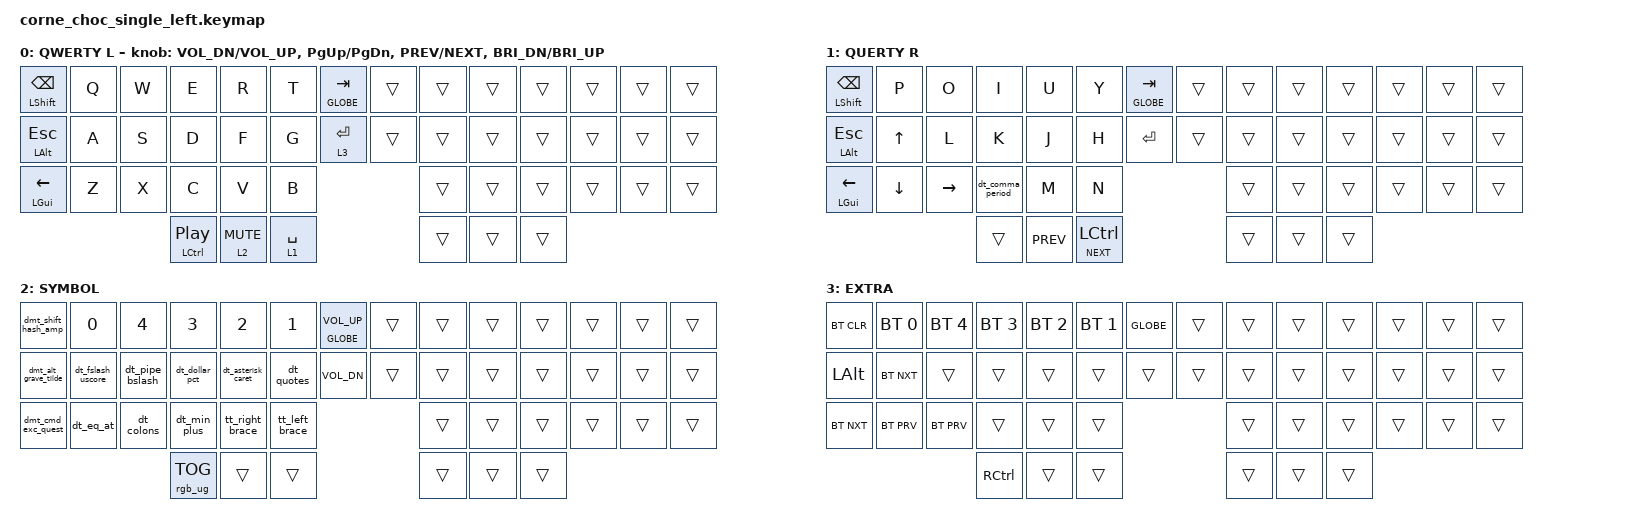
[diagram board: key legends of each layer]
/*
 * Copyright (c) 2020 The ZMK Contributors
 *
 * SPDX-License-Identifier: MIT
 */

#include <behaviors.dtsi>
#include <dt-bindings/zmk/bt.h>
#include <dt-bindings/zmk/keys.h>
#include <dt-bindings/zmk/rgb.h>

&mt { tapping-term-ms = <120>; };

&lt { tapping-term-ms = <120>; };

/ {
    chosen { zmk,physical-layout = &default_layout; };
};

/ {
    behaviors {
        dt_comma_period: dt_comma_period {
            compatible = "zmk,behavior-tap-dance";
            label = "DT_COMMA_PERIOD";
            #binding-cells = <0>;
            bindings = <&kp COMMA>, <&kp PERIOD>;
        };

        dmt_alt_excl_quest: dmt_alt_excl_quest {
            compatible = "zmk,behavior-tap-dance";
            label = "DMT_ALT_EXCL_QUEST";
            #binding-cells = <0>;
            bindings = <&mt LEFT_ALT EXCLAMATION>, <&kp QUESTION>;
        };

        dmt_alt_grave_tilde: dmt_alt_grave_tilde {
            compatible = "zmk,behavior-tap-dance";
            label = "DMT_ALT_GRAVE_TILDE";
            #binding-cells = <0>;
            bindings = <&mt LEFT_ALT GRAVE>, <&kp TILDE>;
        };

        dt_quotes: dt_quotes {
            compatible = "zmk,behavior-tap-dance";
            label = "DT_QUOTES";
            #binding-cells = <0>;
            bindings = <&kp SINGLE_QUOTE>, <&kp DOUBLE_QUOTES>;
        };

        dt_asterisk_caret: dt_asterisk_caret {
            compatible = "zmk,behavior-tap-dance";
            label = "DT_ASTERISK_CARET";
            #binding-cells = <0>;
            bindings = <&kp ASTERISK>, <&kp CARET>;
        };

        dt_lt_gt: dt_lt_gt {
            compatible = "zmk,behavior-tap-dance";
            label = "DT_LT_GT";
            #binding-cells = <0>;
            bindings = <&kp LT>, <&kp GREATER_THAN>;
        };

        dt_pipe_bslash: dt_pipe_bslash {
            compatible = "zmk,behavior-tap-dance";
            label = "DT_PIPE_BSLASH";
            #binding-cells = <0>;
            bindings = <&kp PIPE>, <&kp BACKSLASH>;
        };

        dt_fslash_uscore: dt_fslash_uscore {
            compatible = "zmk,behavior-tap-dance";
            label = "DT_FSLASH_USCORE";
            #binding-cells = <0>;
            bindings = <&kp SLASH>, <&kp UNDERSCORE>;
        };

        dt_min_plus: dt_min_plus {
            compatible = "zmk,behavior-tap-dance";
            label = "DT_MIN_PLUS";
            #binding-cells = <0>;
            bindings = <&kp KP_MINUS>, <&kp KP_PLUS>;
        };

        dt_curly_bracket: dt_curly_bracket {
            compatible = "zmk,behavior-tap-dance";
            label = "DT_CURLY_BRACKET";
            #binding-cells = <0>;
            bindings = <&kp LEFT_BRACE>, <&kp RIGHT_BRACE>;
        };

        dt_square_bracket: dt_square_bracket {
            compatible = "zmk,behavior-tap-dance";
            label = "DT_SQUARE_BRACKET";
            #binding-cells = <0>;
            bindings = <&kp LBKT>, <&kp RIGHT_BRACKET>;
        };

        dt_colons: dt_colons {
            compatible = "zmk,behavior-tap-dance";
            label = "DT_COLONS";
            #binding-cells = <0>;
            bindings = <&kp COLON>, <&kp SEMICOLON>;
        };

        dt_eq_at: dt_eq_at {
            compatible = "zmk,behavior-tap-dance";
            label = "DT_EQ_AT";
            #binding-cells = <0>;
            bindings = <&kp EQUAL>, <&kp AT_SIGN>;
        };

        ht_mt_bt0: ht_mt_bt0 {
            compatible = "zmk,behavior-hold-tap";
            label = "HT_MT_BT0";
            bindings = <&kp>, <&bt_sel_0>;

            #binding-cells = <2>;
            tapping-term-ms = <120>;
        };

        ht_mt_bt1: ht_mt_bt1 {
            compatible = "zmk,behavior-hold-tap";
            label = "HT_MT_BT1";
            bindings = <&kp>, <&bt_sel_1>;

            #binding-cells = <2>;
            tapping-term-ms = <120>;
        };

        dmt_shift_hash_amp: dmt_shift_hash_amp {
            compatible = "zmk,behavior-tap-dance";
            label = "DMT_SHIFT_HASH_AMP";
            #binding-cells = <0>;
            bindings = <&mt LEFT_SHIFT HASH>, <&kp AMPS>;

            tapping-term-ms = <120>;
        };

        dmt_shift_dollar_pct: dmt_shift_dollar_pct {
            compatible = "zmk,behavior-tap-dance";
            label = "DMT_SHIFT_DOLLAR_PCT";
            #binding-cells = <0>;
            bindings = <&mt LEFT_SHIFT DOLLAR>, <&kp PERCENT>;
        };

        dmt_cmd_parentheses: dmt_cmd_parentheses {
            compatible = "zmk,behavior-tap-dance";
            label = "DMT_CMD_PARENTHESES";
            #binding-cells = <0>;
            bindings = <&mt LEFT_GUI LEFT_PARENTHESIS>, <&kp RIGHT_PARENTHESIS>;
        };

        tt_left_brace: tt_left_brace {
            compatible = "zmk,behavior-tap-dance";
            label = "TT_LEFT_BRACE";
            #binding-cells = <0>;
            bindings =
                <&kp LEFT_PARENTHESIS>,
                <&kp LEFT_BRACKET>,
                <&kp LESS_THAN>,
                <&kp LEFT_BRACE>;
        };

        tt_right_brace: tt_right_brace {
            compatible = "zmk,behavior-tap-dance";
            label = "TT_RIGHT_BRACE";
            #binding-cells = <0>;
            bindings =
                <&kp RIGHT_PARENTHESIS>,
                <&kp RIGHT_BRACKET>,
                <&kp GREATER_THAN>,
                <&kp RIGHT_BRACE>;
        };

        new_behavior: new_behavior {
            compatible = "zmk,behavior-tap-dance";
            label = "NEW_BEHAVIOR";
            #binding-cells = <0>;
            bindings =
                <&kp LEFT_PARENTHESIS>,
                <&kp LEFT_BRACKET>,
                <&kp LESS_THAN>,
                <&kp LEFT_BRACE>;
        };

        dt_hash_amp: dt_hash_amp {
            compatible = "zmk,behavior-tap-dance";
            label = "DT_HASH_AMP";
            #binding-cells = <0>;
            bindings = <&kp HASH>, <&kp AMPS>;
        };

        dt_dollar_pct: dt_dollar_pct {
            compatible = "zmk,behavior-tap-dance";
            label = "DT_DOLLAR_PCT";
            #binding-cells = <0>;
            bindings = <&kp DOLLAR>, <&kp PRCNT>;
        };

        dmt_cmd_exc_quest: dmt_cmd_exc_quest {
            compatible = "zmk,behavior-tap-dance";
            label = "DMT_CMD_EXC_QUEST";
            #binding-cells = <0>;
            bindings = <&mt LEFT_GUI EXCL>, <&kp QUESTION>;
        };
    };

    combos {
        compatible = "zmk,combos";

        sum_12 {
            bindings = <&kp NUMBER_3>;
            key-positions = <5 4>;
            layers = <2>;
        };

        sum_13 {
            bindings = <&kp N4>;
            key-positions = <3 5>;
            layers = <2>;
        };

        sum_14 {
            bindings = <&kp N5>;
            key-positions = <2 5>;
            layers = <2>;
        };

        sum_23 {
            bindings = <&kp KP_N5>;
            key-positions = <4 3>;
            layers = <2>;
        };

        sum_24 {
            bindings = <&kp N6>;
            key-positions = <4 2>;
            layers = <2>;
        };

        sum_34 {
            bindings = <&kp N7>;
            key-positions = <2 3>;
            layers = <2>;
        };

        sum_123 {
            bindings = <&kp N6>;
            key-positions = <5 4 3>;
            layers = <2>;
        };

        sum_124 {
            bindings = <&kp N7>;
            key-positions = <3 5 2>;
            layers = <2>;
        };

        sum_234 {
            bindings = <&kp N9>;
            key-positions = <3 2 4>;
            layers = <2>;
        };

        sum_1234 {
            bindings = <&kp N0>;
            key-positions = <3 2 4 5>;
            layers = <2>;
        };
    };

    macros {
        bt_sel_0: bt_sel_0 {
            compatible = "zmk,behavior-macro";
            #binding-cells = <0>;
            bindings = <&bt BT_SEL 0>;
            label = "BT_SEL_0";
        };

        bt_sel_1: bt_sel_1 {
            compatible = "zmk,behavior-macro";
            #binding-cells = <0>;
            bindings = <&bt BT_SEL 1>;
            label = "BT_SEL_1";
        };

        copy: copy {
            compatible = "zmk,behavior-macro";
            #binding-cells = <0>;
            bindings = <&kp LEFT_CONTROL &kp C>;
            label = "COPY";
        };

        paste: paste {
            compatible = "zmk,behavior-macro";
            #binding-cells = <0>;
            bindings = <&kp LEFT_CONTROL &kp V>;
            label = "PASTE";
        };

        cut: cut {
            compatible = "zmk,behavior-macro";
            #binding-cells = <0>;
            bindings = <&kp LEFT_CONTROL &kp X>;
            label = "CUT";
        };
    };

    keymap {
        compatible = "zmk,keymap";

        default_layer {
            display-name = "QWERTY L";
            bindings = <
&mt LEFT_SHIFT BACKSPACE  &kp Q  &kp W  &kp E           &kp R         &kp T        &mt GLOBE TAB  &trans  &trans  &trans  &trans  &trans  &trans  &trans
&mt LEFT_ALT ESCAPE       &kp A  &kp S  &kp D           &kp F         &kp G        &lt 3 ENTER    &trans  &trans  &trans  &trans  &trans  &trans  &trans
&mt LEFT_GUI LEFT         &kp Z  &kp X  &kp C           &kp V         &kp B                               &trans  &trans  &trans  &trans  &trans  &trans
                                        &mt LCTRL C_PP  &lt 2 C_MUTE  &lt 1 SPACE                         &trans  &trans  &trans
            >;

            sensor-bindings = <&inc_dec_kp C_VOL_DN C_VOL_UP &inc_dec_kp PG_UP PG_DN &inc_dec_kp C_PREV C_NEXT &inc_dec_kp C_BRI_DN C_BRI_UP>;
        };

        lower_layer {
            display-name = "QUERTY R";
            bindings = <
&mt LEFT_SHIFT BACKSPACE &kp P         &kp O      &kp I             &kp U       &kp Y             &mt GLOBE TAB  &trans  &trans  &trans  &trans  &trans  &trans  &trans
&mt LEFT_ALT ESCAPE      &kp UP_ARROW  &kp L      &kp K             &kp J       &kp H             &kp ENTER      &trans  &trans  &trans  &trans  &trans  &trans  &trans
&mt LEFT_GUI LEFT        &kp DOWN      &kp RIGHT  &dt_comma_period  &kp M       &kp N                                            &trans  &trans  &trans  &trans  &trans  &trans
                                                  &trans            &kp C_PREV  &mt C_NEXT LCTRL                                 &trans  &trans  &trans
            >;
        };

        raise_layer {
            display-name = "SYMBOL";
            bindings = <
&dmt_shift_hash_amp   &kp NUMBER_0       &kp NUMBER_4     &kp NUMBER_3     &kp NUMBER_2        &kp NUMBER_1    &mt GLOBE C_VOL_UP  &trans  &trans  &trans  &trans  &trans  &trans  &trans
&dmt_alt_grave_tilde  &dt_fslash_uscore  &dt_pipe_bslash  &dt_dollar_pct   &dt_asterisk_caret  &dt_quotes      &kp C_VOL_DN        &trans  &trans  &trans  &trans  &trans  &trans  &trans
&dmt_cmd_exc_quest    &dt_eq_at          &dt_colons       &dt_min_plus     &tt_right_brace     &tt_left_brace                              &trans  &trans  &trans  &trans  &trans  &trans
                                                          &rgb_ug RGB_TOG  &trans              &trans                                      &trans  &trans  &trans
            >;
        };

        extra_layer_1 {
            display-name = "EXTRA";
            bindings = <
&bt BT_CLR    &bt BT_SEL 0  &bt BT_SEL 4  &bt BT_SEL 3  &bt BT_SEL 2  &bt BT_SEL 1  &kp GLOBE  &trans  &trans  &trans  &trans  &trans  &trans  &trans
&kp LEFT_ALT  &bt BT_NXT    &trans        &trans        &trans        &trans        &trans     &trans  &trans  &trans  &trans  &trans  &trans  &trans
&bt BT_NXT    &bt BT_PRV    &bt BT_PRV    &trans        &trans        &trans                           &trans  &trans  &trans  &trans  &trans  &trans
                                          &kp RCTRL     &trans        &trans                           &trans  &trans  &trans
            >;
        };
    };
};
